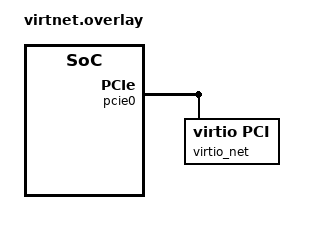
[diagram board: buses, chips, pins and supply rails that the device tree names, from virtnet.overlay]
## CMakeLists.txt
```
# SPDX-License-Identifier: Apache-2.0

cmake_minimum_required(VERSION 3.28.0)

find_package(Zephyr REQUIRED HINTS $ENV{ZEPHYR_BASE})
project(sockets_echo_server)

if(CONFIG_NET_SOCKETS_SOCKOPT_TLS AND
  CONFIG_MBEDTLS_KEY_EXCHANGE_PSK_ENABLED AND
  (CONFIG_NET_SAMPLE_PSK_HEADER_FILE STREQUAL "dummy_psk.h")
)
  add_custom_target(development_psk
    COMMAND ${CMAKE_COMMAND} -E echo "----------------------------------------------------------"
    COMMAND ${CMAKE_COMMAND} -E echo "--- WARNING: Using dummy PSK! Only suitable for        ---"
    COMMAND ${CMAKE_COMMAND} -E echo "--- development. Set NET_SAMPLE_PSK_HEADER_FILE to use ---"
    COMMAND ${CMAKE_COMMAND} -E echo "--- own pre-shared key.                                ---"
    COMMAND ${CMAKE_COMMAND} -E echo "----------------------------------------------------------"
  )
  add_dependencies(app development_psk)
endif()

target_sources(                     app PRIVATE src/echo-server.c)
target_sources_ifdef(CONFIG_NET_UDP app PRIVATE src/udp.c)
target_sources_ifdef(CONFIG_NET_TCP app PRIVATE src/tcp.c)

if(CONFIG_USB_DEVICE_STACK_NEXT)
  target_sources(app PRIVATE src/usb.c)
  include(${ZEPHYR_BASE}/samples/subsys/usb/common/common.cmake)
endif()

include(${ZEPHYR_BASE}/samples/net/common/common.cmake)

set(gen_dir ${ZEPHYR_BINARY_DIR}/include/generated/)

foreach(inc_file
  ca.der
  server.der
  server_privkey.der
  echo-apps-cert.der
  echo-apps-key.der
)
  generate_inc_file_for_target(
    app
    src/${inc_file}
    ${gen_dir}/${inc_file}.inc
  )
endforeach()

if(CONFIG_NET_SAMPLE_WEBSOCKET_CONSOLE)
  zephyr_linker_sources(SECTIONS src/ws_console/sections-rom.ld)
  target_sources(app PRIVATE src/ws_console/ws.c)
  generate_inc_file_for_target(app src/ws_console/index.html ${gen_dir}/index.html.gz.inc --gzip)
  generate_inc_file_for_target(app src/ws_console/style.css ${gen_dir}/style.css.gz.inc --gzip)
  generate_inc_file_for_target(app src/ws_console/favicon-16x16.png ${gen_dir}/favicon-16x16.png.gz.inc --gzip)
endif()
if(CONFIG_NET_SAMPLE_HTTPS_SERVICE)
  zephyr_linker_section_ifdef(CONFIG_NET_SAMPLE_WEBSOCKET_CONSOLE NAME
    http_resource_desc_wss_console_service
    KVMA RAM_REGION GROUP RODATA_REGION
  )
endif()
zephyr_linker_section_ifdef(CONFIG_NET_SAMPLE_WEBSOCKET_CONSOLE NAME
  http_resource_desc_ws_console_service
  KVMA RAM_REGION GROUP RODATA_REGION
)
```

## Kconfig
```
# Private config options for echo-server sample app

# Copyright (c) 2018 Intel Corporation
# SPDX-License-Identifier: Apache-2.0

mainmenu "Networking echo-server sample application"

config NET_SAMPLE_NUM_HANDLERS
	int "How many connections to serve at the same time"
	default 1
	help
	  Each connection is served by a thread which needs
	  memory. Only increase the value here if really needed.

config NET_SAMPLE_PSK_HEADER_FILE
	string "Header file containing PSK"
	default "dummy_psk.h"
	depends on MBEDTLS_KEY_EXCHANGE_PSK_ENABLED
	help
	  Name of a header file containing a
	  pre-shared key.

config NET_SAMPLE_CERTS_WITH_SC
	bool "Signed certificates"
	depends on NET_SOCKETS_SOCKOPT_TLS
	help
	  Enable this flag, if you are interested to run this
	  application with signed certificates and keys.

config NET_SAMPLE_WEBSOCKET_CONSOLE
	bool "Websocket console support"
	default y if WEBSOCKET_CONSOLE
	help
	  Enable this flag, if you are interested to enable websocket console.
	  You can use the ws-console.conf to set websocket options.

config NET_SAMPLE_HTTPS_SERVICE
	bool "Enable HTTPS service for the Webconsole"
	default y if NET_SAMPLE_WEBSOCKET_CONSOLE
	depends on NET_SOCKETS_SOCKOPT_TLS || TLS_CREDENTIALS

if USB_DEVICE_STACK_NEXT

# Source common USB sample options used to initialize new experimental USB
# device stack. The scope of these options is limited to USB samples in project
# tree, you cannot use them in your own application.
source "samples/subsys/usb/common/Kconfig.sample_usbd"

endif

source "samples/net/common/Kconfig"
source "Kconfig.zephyr"
```

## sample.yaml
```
common:
  harness: net
  tags:
    - net
    - socket
  depends_on: netif
  min_flash: 140
sample:
  description: Test network sockets using a client/server sample
  name: Socket Echo Server
tests:
  sample.net.sockets.echo_server:
    platform_allow:
      - qemu_x86
      - qemu_x86_64
      - sam_e70_xplained/same70q21
      - frdm_k64f
      - qemu_cortex_m3
      - frdm_kw41z
      - qemu_cortex_a53
      - native_sim
    integration_platforms:
      - qemu_x86
  sample.net.sockets.echo_server.802154:
    extra_args: EXTRA_CONF_FILE="overlay-qemu_802154.conf"
    platform_allow: qemu_x86
    integration_platforms:
      - qemu_x86
  sample.net.sockets.echo_server.802154.rf2xx.xplained:
    extra_args:
      - SHIELD=atmel_rf2xx_xplained
      - EXTRA_CONF_FILE="overlay-802154.conf"
    platform_allow: sam4s_xplained
  sample.net.sockets.echo_server.802154.rf2xx.xpro:
    extra_args:
      - SHIELD=atmel_rf2xx_xpro
      - EXTRA_CONF_FILE="overlay-802154.conf"
    platform_allow:
      - sam4e_xpro
      - sam_v71_xult/samv71q21
    integration_platforms:
      - sam_v71_xult/samv71q21
  sample.net.sockets.echo_server.802154.rf2xx.legacy:
    extra_args:
      - SHIELD=atmel_rf2xx_legacy
      - EXTRA_CONF_FILE="overlay-802154.conf"
    platform_allow:
      - sam4e_xpro
      - sam_v71_xult/samv71q21
    integration_platforms:
      - sam_v71_xult/samv71q21
  sample.net.sockets.echo_server.802154.rf2xx.arduino:
    extra_args:
      - SHIELD=atmel_rf2xx_arduino
      - EXTRA_CONF_FILE="overlay-802154.conf"
    platform_allow:
      - sam_v71_xult/samv71q21
      - frdm_k64f
      - nucleo_f767zi
    integration_platforms:
      - sam_v71_xult/samv71q21
  sample.net.sockets.echo_server.802154.rf2xx.mikrobus:
    extra_args:
      - SHIELD=atmel_rf2xx_mikrobus
      - EXTRA_CONF_FILE="overlay-802154.conf"
    platform_allow: lpcxpresso55s69/lpc55s69/cpu0/ns
  sample.net.sockets.echo_server.mcr20a:
    extra_args:
      - SHIELD=frdm_cr20a
      - EXTRA_CONF_FILE=overlay-802154.conf
    platform_allow: frdm_k64f
  sample.net.sockets.echo_server.nrf_802154:
    extra_args: EXTRA_CONF_FILE="overlay-802154.conf"
    platform_allow: nrf52840dk/nrf52840
  sample.net.sockets.echo_server.b91_802154:
    extra_args: EXTRA_CONF_FILE="overlay-802154.conf"
    platform_allow: tlsr9518adk80d
  sample.net.sockets.echo_server.usbd_cdc_ncm:
    depends_on: usbd
    harness: net
    extra_args: EXTRA_CONF_FILE="overlay-usbd.conf"
                EXTRA_DTC_OVERLAY_FILE="usbd_cdc_ncm.overlay"
    tags:
      - net
      - usb
  sample.net.sockets.echo_server.openthread:
    extra_args: EXTRA_CONF_FILE="overlay-ot.conf"
    slow: true
    tags:
      - net
      - openthread
    platform_allow:
      - frdm_kw41z
      - frdm_mcxw71
      - frdm_mcxw72
      - nrf52840dk/nrf52840
      - tlsr9518adk80d
    filter: CONFIG_FULL_LIBC_SUPPORTED and not CONFIG_NATIVE_LIBC
  sample.net.sockets.echo_server.rw612_openthread_rcp_host:
    build_only: true
    extra_args:
      # Disabling monolithic since CI environment doesn't use blobs
      - CONFIG_NXP_MONOLITHIC_NBU=n
      - EXTRA_CONF_FILE="overlay-ot-rcp-host-nxp.conf"
    slow: true
    tags:
      - net
      - openthread
    platform_allow:
      - frdm_rw612
      - rd_rw612_bga
    filter: CONFIG_FULL_LIBC_SUPPORTED and not CONFIG_NATIVE_LIBC
  sample.net.sockets.echo_server.e1000:
    extra_args: EXTRA_CONF_FILE="overlay-e1000.conf"
    tags: net
    platform_allow:
      - qemu_x86
      - qemu_x86_64
  sample.net.sockets.echo_server.stellaris:
    extra_args: EXTRA_CONF_FILE="overlay-qemu_cortex_m3_eth.conf"
    tags: net
    platform_allow: qemu_cortex_m3
  sample.net.sockets.echo_server.smsc911x:
    extra_args: EXTRA_CONF_FILE="overlay-smsc911x.conf"
    tags: net
    platform_allow: mps2/an385
  sample.net.sockets.echo_server.userspace:
    extra_args:
      - CONFIG_USERSPACE=y
      - EXTRA_CONF_FILE="overlay-e1000.conf"
      - CONFIG_MAX_THREAD_BYTES=3
    platform_allow:
      - qemu_x86
      - qemu_x86_64
    integration_platforms:
      - qemu_x86
  sample.net.sockets.echo_server.nsos:
    harness: console
    platform_allow:
      - native_sim
      - native_sim/native/64
    extra_args:
      - EXTRA_CONF_FILE="overlay-nsos.conf"
    harness_config:
      type: multi_line
      ordered: false
      regex:
        - "Network connected"
        - "Waiting for TCP.*IPv4"
        - "Waiting for TCP.*IPv6"
        - "Waiting for UDP.*IPv4"
        - "Waiting for UDP.*IPv6"
  sample.net.sockets.echo_server.802154.subg:
    extra_args: EXTRA_CONF_FILE="overlay-802154-subg.conf"
    platform_allow: beagleconnect_freedom
  sample.net.sockets.echo_server.ws_console:
    platform_allow:
      - native_sim
      - native_sim/native/64
    extra_args:
      - EXTRA_CONF_FILE="overlay-ws-console.conf"
  sample.net.sockets.echo_server.wifi.nrf70dk:
    extra_args:
      - SNIPPET=wifi-ipv4
      - CONFIG_BUILD_ONLY_NO_BLOBS=y
    platform_allow:
      - nrf7002dk/nrf5340/cpuapp
```

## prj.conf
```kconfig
# Generic networking options
CONFIG_NETWORKING=y
CONFIG_NET_UDP=y
CONFIG_NET_TCP=y
CONFIG_NET_IPV6=y
CONFIG_NET_IPV4=y
CONFIG_NET_SOCKETS=y
CONFIG_POSIX_API=y
CONFIG_NET_CONNECTION_MANAGER=y

# Kernel options
CONFIG_MAIN_STACK_SIZE=2048
CONFIG_ENTROPY_GENERATOR=y
CONFIG_TEST_RANDOM_GENERATOR=y
CONFIG_INIT_STACKS=y

# Logging
CONFIG_NET_LOG=y
CONFIG_LOG=y
CONFIG_NET_STATISTICS=y
CONFIG_PRINTK=y

# Network buffers
CONFIG_NET_PKT_RX_COUNT=16
CONFIG_NET_PKT_TX_COUNT=16
CONFIG_NET_BUF_RX_COUNT=64
CONFIG_NET_BUF_TX_COUNT=64
CONFIG_NET_CONTEXT_NET_PKT_POOL=y

# IP address options
CONFIG_NET_IF_UNICAST_IPV6_ADDR_COUNT=3
CONFIG_NET_IF_MCAST_IPV6_ADDR_COUNT=4
CONFIG_NET_MAX_CONTEXTS=10

# Network shell
CONFIG_NET_SHELL=y
CONFIG_SHELL=y

# Network application options and configuration
CONFIG_NET_CONFIG_SETTINGS=y
CONFIG_NET_CONFIG_NEED_IPV6=y
CONFIG_NET_CONFIG_MY_IPV6_ADDR="2001:db8::1"
CONFIG_NET_CONFIG_PEER_IPV6_ADDR="2001:db8::2"
CONFIG_NET_CONFIG_NEED_IPV4=y
CONFIG_NET_CONFIG_MY_IPV4_ADDR="192.0.2.1"
CONFIG_NET_CONFIG_PEER_IPV4_ADDR="192.0.2.2"

# Number of socket descriptors might need adjusting
# if there are more than 1 handlers defined.
CONFIG_ZVFS_OPEN_ADD_SIZE_NET_SAMPLE=8

# How many client can connect to echo-server simultaneously
CONFIG_NET_SAMPLE_NUM_HANDLERS=1
```

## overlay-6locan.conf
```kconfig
CONFIG_CAN=y
CONFIG_CAN_NET=y
CONFIG_CAN_MAX_FILTER=8
CONFIG_NET_L2_CANBUS=y
CONFIG_NET_L2_CANBUS_BS=8
CONFIG_NET_L2_CANBUS_STMIN=0
CONFIG_NET_IPV4=n
CONFIG_NET_IPV6=y
CONFIG_NET_CONFIG_NEED_IPV6=y
CONFIG_NET_CONFIG_NEED_IPV4=n
CONFIG_NET_CONFIG_MY_IPV4_ADDR=""
CONFIG_NET_CONFIG_PEER_IPV4_ADDR=""
```

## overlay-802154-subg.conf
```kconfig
CONFIG_BT=n

# Disable IPv4
CONFIG_NET_IPV4=n

CONFIG_NET_CONFIG_NEED_IPV6=y
CONFIG_NET_CONFIG_NEED_IPV4=n
CONFIG_NET_CONFIG_MY_IPV4_ADDR=""
CONFIG_NET_CONFIG_PEER_IPV4_ADDR=""

CONFIG_NET_L2_IEEE802154=y
CONFIG_SHELL=y
CONFIG_NET_L2_IEEE802154_SHELL=y
CONFIG_NET_L2_IEEE802154_LOG_LEVEL_INF=y

# Uncomment for 868 MHz
#CONFIG_NET_CONFIG_IEEE802154_CHANNEL=0
# Uncomment for 906 MHz:
CONFIG_NET_CONFIG_IEEE802154_CHANNEL=1
```

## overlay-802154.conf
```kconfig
CONFIG_BT=n

# Disable TCP and IPv4 (TCP disabled to avoid heavy traffic)
CONFIG_NET_TCP=n
CONFIG_NET_IPV4=n

CONFIG_NET_CONFIG_NEED_IPV6=y
CONFIG_NET_CONFIG_NEED_IPV4=n
CONFIG_NET_CONFIG_MY_IPV4_ADDR=""
CONFIG_NET_CONFIG_PEER_IPV4_ADDR=""

CONFIG_NET_L2_IEEE802154=y
CONFIG_NET_L2_IEEE802154_SHELL=y
CONFIG_NET_L2_IEEE802154_LOG_LEVEL_INF=y

CONFIG_NET_CONFIG_IEEE802154_CHANNEL=26

CONFIG_SYSTEM_WORKQUEUE_STACK_MIN_SIZE_APP=2048
```

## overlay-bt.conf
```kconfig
CONFIG_BT=y
CONFIG_LOG=y
CONFIG_BT_SMP=y
CONFIG_BT_PERIPHERAL=y
CONFIG_BT_CENTRAL=y
CONFIG_BT_L2CAP_DYNAMIC_CHANNEL=y
CONFIG_BT_DEVICE_NAME="Zephyr Echo Server"
CONFIG_NET_L2_BT=y
CONFIG_NET_IPV4=n
CONFIG_NET_IPV6=y
CONFIG_NET_CONFIG_BT_NODE=y
CONFIG_NET_CONFIG_NEED_IPV6=y
CONFIG_NET_CONFIG_NEED_IPV4=n
CONFIG_NET_CONFIG_MY_IPV4_ADDR=""
CONFIG_NET_CONFIG_PEER_IPV4_ADDR=""
```

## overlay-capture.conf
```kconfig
CONFIG_NET_CAPTURE=y

# These might need adjustment if you have more than
# two network interfaces.
CONFIG_NET_IF_MAX_IPV6_COUNT=3
CONFIG_NET_IF_MAX_IPV4_COUNT=3
CONFIG_NET_IF_UNICAST_IPV4_ADDR_COUNT=2
CONFIG_NET_IF_UNICAST_IPV6_ADDR_COUNT=4
```

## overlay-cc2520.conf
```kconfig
CONFIG_NET_L2_IEEE802154=y

CONFIG_NET_CONFIG_MY_IPV6_ADDR="2001:db8::2"
```

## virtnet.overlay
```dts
/*
 * Copyright (c) 2025 Antmicro <www.antmicro.com>
 *
 * SPDX-License-Identifier: Apache-2.0
 */

&pcie0 {
	eth0: eth0 {
		status = "disabled";
	};

	virtio_net: virtio-net {
		compatible = "virtio,pci";

		vendor-id = <0x1af4>;
		device-id = <0x1000>;

		interrupts = <0xb 0x0 0x0>;
		interrupt-parent = <&intc>;

		device {
			compatible = "virtio,net";
			zephyr,random-mac-address;
			status = "okay";
		};
	};
};
```

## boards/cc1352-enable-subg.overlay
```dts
/*
 * Copyright (c) 2022 Florin Stancu
 *
 * SPDX-License-Identifier: Apache-2.0
 */

/**
 * Overlay to enable for CC1352R1 / CC1352P1-based boards.
 */

/ {
	chosen {
		zephyr,ieee802154 = &ieee802154g;
	};
};

&ieee802154 {
	status = "disabled";
};

&ieee802154g {
	status = "okay";
};
```

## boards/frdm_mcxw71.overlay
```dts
/*
 * Copyright 2023-2025 NXP
 *
 * SPDX-License-Identifier: Apache-2.0
 */

&stcm {
	ranges = <0x0 0x30000000 DT_SIZE_K(112)>;

	stcm1: system_memory@1a000 {
		compatible = "zephyr,memory-region", "mmio-sram";
		reg = <0x1a000 DT_SIZE_K(4)>;
		zephyr,memory-region = "RetainedMem";
	};
};

&stcm0 {
	/* With only the first 64KB having ECC */
	reg = <0x0 DT_SIZE_K(108)>;
};
```

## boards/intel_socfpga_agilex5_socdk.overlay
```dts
/*
 * Copyright (C) 2024 Intel Corporation
 * SPDX-License-Identifier: Apache-2.0
 */

/* The overlay file should be used to enable any
 * dts nodes required by this application for this
 * board.
 */

&xgmac0 {
	local-mac-address = [06 00 00 00 00 02];
	status = "okay";
};

&mdio0 {
	status = "okay";

	phy0: phy@0 {
		status = "okay";
	};
};
```

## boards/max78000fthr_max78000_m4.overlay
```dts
/*
 * Copyright (c) 2026 Analog Devices, Inc.
 *
 * SPDX-License-Identifier: Apache-2.0
 */

&m4_sram {
	reg = <0x20000000 DT_SIZE_K(128)>;
};

&spi0_mosi_p0_5 {
	power-source = <MAX32_VSEL_VDDIOH>;
};

&spi0_miso_p0_6 {
	power-source = <MAX32_VSEL_VDDIOH>;
};

&spi0_sck_p0_7 {
	power-source = <MAX32_VSEL_VDDIOH>;
};

&spi0_ss0_p0_4 {
	power-source = <MAX32_VSEL_VDDIOH>;
};

/* I2C uses P0.10/P0.11, which conflict with QSPI_SS1 */
&i2c0 {
	status = "disabled";
};

&spi0 {
	cs-gpios = <&gpio0 11 (GPIO_ACTIVE_LOW | MAX32_GPIO_VSEL_VDDIOH)>;
	status = "okay";

	adin1140@0 {
		compatible = "adi,adin1140";
		reg = <0x0>;
		spi-max-frequency = <DT_FREQ_M(25)>;
		int-gpios = <&gpio1 6 (GPIO_ACTIVE_LOW | MAX32_GPIO_VSEL_VDDIOH | GPIO_PULL_UP)>;
		wake-gpios = <&gpio0 24 (GPIO_ACTIVE_HIGH | MAX32_GPIO_VSEL_VDDIOH)>;
		local-mac-address = [00 e0 22 fe da d0];
		phy-handle = <&adin1140_phy>;
		status = "okay";

		mdio {
			compatible = "adi,adin1140-mdio";
			#address-cells = <1>;
			#size-cells = <0>;

			adin1140_phy: ethernet-phy@0 {
				compatible = "adi,adin1140-phy";
				reg = <0x0>;
				plca-enable;
				plca-node-id = <0>;
				plca-node-count = <5>;
				plca-burst-count = <0>;
				plca-burst-timer = <0x60>;
				plca-to-timer = <0x20>;
			};
		};
	};
};
```

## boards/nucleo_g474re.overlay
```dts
/*
 * Copyright 2025 Łukasz Majewski
 *
 * SPDX-License-Identifier: Apache-2.0
 */

&spi1 {
	status = "okay";
	pinctrl-0 = <&spi1_sck_pa5 &spi1_miso_pa6 &spi1_mosi_pa7>;
	pinctrl-names = "default";
	cs-gpios = <&gpiob 6 GPIO_ACTIVE_LOW>;

	spe: lan865x@0 {
		compatible = "microchip,lan865x";
		reg = <0>;

		/* pa9 -> D8 label on nucleo */
		rst-gpios = <&gpioa 9 GPIO_ACTIVE_LOW>;
		/* pa8 -> D7 label on nucleo */
		int-gpios = <&gpioa 8 GPIO_ACTIVE_LOW>;

		local-mac-address = [00 19 05 00 00 01];

		phy-handle = <&lan865x_phy>;

		spi-max-frequency = <25000000>;

		#address-cells = <1>;
		#size-cells = <0>;

		lan865x_phy: ethernet-phy@0 {
			compatible = "microchip,t1s-phy";
			reg = <0x0>;
			plca-enable;
			plca-node-id = <1>;
			plca-node-count = <8>;
			plca-burst-count = <0>;
			plca-burst-timer = <0x80>;
			plca-to-timer = <0x20>;
			status = "okay";
		};

		status = "okay";
	};
};
```

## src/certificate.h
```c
/*
 * Copyright (c) 2018 Nordic Semiconductor ASA
 *
 * SPDX-License-Identifier: Apache-2.0
 */

#ifndef __CERTIFICATE_H__
#define __CERTIFICATE_H__

#define SERVER_CERTIFICATE_TAG 1
#define PSK_TAG 2

#if !defined(CONFIG_NET_SAMPLE_CERTS_WITH_SC)
static const unsigned char server_certificate[] = {
#include <echo-apps-cert.der.inc>
};

/* This is the private key in pkcs#8 format. */
static const unsigned char private_key[] = {
#include <echo-apps-key.der.inc>
};

#else

static const unsigned char ca_certificate[] = {
#include <ca.der.inc>
};

static const unsigned char server_certificate[] = {
#include <server.der.inc>
};

/* This is the private key in pkcs#8 format. */
static const unsigned char private_key[] = {
#include <server_privkey.der.inc>
};
#endif

#if defined(CONFIG_MBEDTLS_KEY_EXCHANGE_PSK_ENABLED)
#include CONFIG_NET_SAMPLE_PSK_HEADER_FILE
#endif

#endif /* __CERTIFICATE_H__ */
```

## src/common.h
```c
/*
 * Copyright (c) 2017-2019 Intel Corporation.
 * Copyright (c) 2018 Nordic Semiconductor ASA.
 *
 * SPDX-License-Identifier: Apache-2.0
 */

#include "net_sample_common.h"

#define MY_PORT 4242
#if defined(CONFIG_NET_SOCKETS_SOCKOPT_TLS) || defined(CONFIG_NET_TCP) || \
	defined(CONFIG_COVERAGE_GCOV)
#define STACK_SIZE 4096
#else
#define STACK_SIZE 2048
#endif

#if defined(CONFIG_NET_TC_THREAD_COOPERATIVE)
#define THREAD_PRIORITY K_PRIO_COOP(CONFIG_NUM_COOP_PRIORITIES - 1)
#else
#define THREAD_PRIORITY K_PRIO_PREEMPT(8)
#endif

#define RECV_BUFFER_SIZE 1280
#define STATS_TIMER 60 /* How often to print statistics (in seconds) */

#if defined(CONFIG_USERSPACE)
#include <zephyr/app_memory/app_memdomain.h>
extern struct k_mem_partition app_partition;
extern struct k_mem_domain app_domain;
#define APP_BMEM K_APP_BMEM(app_partition)
#define APP_DMEM K_APP_DMEM(app_partition)
#else
#define APP_BMEM
#define APP_DMEM
#endif

struct data {
	const char *proto;

	struct {
		int sock;
		char recv_buffer[RECV_BUFFER_SIZE];
		uint32_t counter;
		atomic_t bytes_received;
		struct k_work_delayable stats_print;
	} udp;

	struct {
		int sock;
		atomic_t bytes_received;
		struct k_work_delayable stats_print;

		struct {
			int sock;
			char recv_buffer[RECV_BUFFER_SIZE];
			uint32_t counter;
		} accepted[CONFIG_NET_SAMPLE_NUM_HANDLERS];
	} tcp;
};

struct configs {
	struct data ipv4;
	struct data ipv6;
};

extern struct configs conf;

void start_udp(void);
void stop_udp(void);

void start_tcp(void);
void stop_tcp(void);

void quit(void);

#if defined(CONFIG_NET_SAMPLE_WEBSOCKET_CONSOLE)
int init_ws(void);
#else
static inline int init_ws(void)
{
	return 0;
}
#endif /* CONFIG_NET_SAMPLE_WEBSOCKET_CONSOLE */

#if defined(CONFIG_USB_DEVICE_STACK_NEXT)
int init_usb(void);
#else
static inline int init_usb(void)
{
	return 0;
}
#endif /* CONFIG_USB_DEVICE_STACK_NEXT */
```

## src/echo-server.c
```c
/* echo-server.c - Networking echo server */

/*
 * Copyright (c) 2016 Intel Corporation.
 * Copyright (c) 2018 Nordic Semiconductor ASA.
 *
 * SPDX-License-Identifier: Apache-2.0
 */

#include <zephyr/logging/log.h>
LOG_MODULE_REGISTER(net_echo_server_sample, LOG_LEVEL_DBG);

#include <zephyr/kernel.h>
#include <zephyr/linker/sections.h>
#include <errno.h>
#include <zephyr/shell/shell.h>

#include <zephyr/net/net_core.h>
#include <zephyr/net/tls_credentials.h>

#include <zephyr/net/net_mgmt.h>
#include <zephyr/net/net_event.h>
#include <zephyr/net/conn_mgr_monitor.h>

#include "common.h"
#include "certificate.h"

#define APP_BANNER "Run echo server"

static struct k_sem quit_lock;
static struct net_mgmt_event_callback mgmt_cb;
static bool connected;
K_SEM_DEFINE(run_app, 0, 1);
static bool want_to_quit;

#if defined(CONFIG_USERSPACE)
K_APPMEM_PARTITION_DEFINE(app_partition);
struct k_mem_domain app_domain;
#endif

#define EVENT_MASK (NET_EVENT_L4_CONNECTED | \
		    NET_EVENT_L4_DISCONNECTED)

APP_DMEM struct configs conf = {
	.ipv4 = {
		.proto = "IPv4",
	},
	.ipv6 = {
		.proto = "IPv6",
	},
};

void quit(void)
{
	k_sem_give(&quit_lock);
}

static void start_udp_and_tcp(void)
{
	LOG_INF("Starting...");

	if (IS_ENABLED(CONFIG_NET_TCP)) {
		start_tcp();
	}

	if (IS_ENABLED(CONFIG_NET_UDP)) {
		start_udp();
	}
}

static void stop_udp_and_tcp(void)
{
	LOG_INF("Stopping...");

	if (IS_ENABLED(CONFIG_NET_UDP)) {
		stop_udp();
	}

	if (IS_ENABLED(CONFIG_NET_TCP)) {
		stop_tcp();
	}
}

static void event_handler(struct net_mgmt_event_callback *cb,
			  uint64_t mgmt_event, struct net_if *iface)
{
	ARG_UNUSED(iface);
	ARG_UNUSED(cb);

	if ((mgmt_event & EVENT_MASK) != mgmt_event) {
		return;
	}

	if (want_to_quit) {
		k_sem_give(&run_app);
		want_to_quit = false;
	}

	if (mgmt_event == NET_EVENT_L4_CONNECTED) {
		LOG_INF("Network connected");

		connected = true;
		k_sem_give(&run_app);

		return;
	}

	if (mgmt_event == NET_EVENT_L4_DISCONNECTED) {
		if (connected == false) {
			LOG_INF("Waiting network to be connected");
		} else {
			LOG_INF("Network disconnected");
			connected = false;
		}

		k_sem_reset(&run_app);

		return;
	}
}

static void init_app(void)
{
#if defined(CONFIG_USERSPACE)
	struct k_mem_partition *parts[] = {
#if Z_LIBC_PARTITION_EXISTS
		&z_libc_partition,
#endif
		&app_partition
	};

	int ret = k_mem_domain_init(&app_domain, ARRAY_SIZE(parts), parts);

	__ASSERT(ret == 0, "k_mem_domain_init() failed %d", ret);
	ARG_UNUSED(ret);
#endif

	k_sem_init(&quit_lock, 0, K_SEM_MAX_LIMIT);

	LOG_INF(APP_BANNER);

#if defined(CONFIG_NET_SOCKETS_SOCKOPT_TLS)
	int err;

#if defined(CONFIG_NET_SAMPLE_CERTS_WITH_SC)
	err = tls_credential_add(SERVER_CERTIFICATE_TAG,
				 TLS_CREDENTIAL_CA_CERTIFICATE,
				 ca_certificate,
				 sizeof(ca_certificate));
	if (err < 0) {
		LOG_ERROR("Failed to register CA certificate: %d", err);
	}
#endif /* defined(CONFIG_NET_SAMPLE_CERTS_WITH_SC) */

	err = tls_credential_add(SERVER_CERTIFICATE_TAG,
				 TLS_CREDENTIAL_PUBLIC_CERTIFICATE,
				 server_certificate,
				 sizeof(server_certificate));
	if (err < 0) {
		LOG_ERROR("Failed to register public certificate: %d", err);
	}


	err = tls_credential_add(SERVER_CERTIFICATE_TAG,
				 TLS_CREDENTIAL_PRIVATE_KEY,
				 private_key, sizeof(private_key));
	if (err < 0) {
		LOG_ERROR("Failed to register private key: %d", err);
	}

#if defined(CONFIG_MBEDTLS_KEY_EXCHANGE_PSK_ENABLED)
	err = tls_credential_add(PSK_TAG,
				TLS_CREDENTIAL_PSK,
				psk,
				sizeof(psk));
	if (err < 0) {
		LOG_ERROR("Failed to register PSK: %d", err);
	}
	err = tls_credential_add(PSK_TAG,
				TLS_CREDENTIAL_PSK_ID,
				psk_id,
				sizeof(psk_id) - 1);
	if (err < 0) {
		LOG_ERROR("Failed to register PSK ID: %d", err);
	}
#endif /* defined(CONFIG_MBEDTLS_KEY_EXCHANGE_PSK_ENABLED) */
#endif /* defined(CONFIG_NET_SOCKETS_SOCKOPT_TLS) */

	if (IS_ENABLED(CONFIG_NET_CONNECTION_MANAGER)) {
		net_mgmt_init_event_callback(&mgmt_cb,
					     event_handler, EVENT_MASK);
		net_mgmt_add_event_callback(&mgmt_cb);

		conn_mgr_mon_resend_status();
	}

	init_vlan();
	init_tunnel();
	init_ws();
	init_usb();
}

static int cmd_sample_quit(const struct shell *sh,
			  size_t argc, char *argv[])
{
	want_to_quit = true;

	conn_mgr_mon_resend_status();

	quit();

	return 0;
}

SHELL_STATIC_SUBCMD_SET_CREATE(sample_commands,
	SHELL_CMD(quit, NULL,
		  "Quit the sample application\n",
		  cmd_sample_quit),
	SHELL_SUBCMD_SET_END
);

SHELL_CMD_REGISTER(sample, &sample_commands,
		   "Sample application commands", NULL);

int main(void)
{
	init_app();

	if (!IS_ENABLED(CONFIG_NET_CONNECTION_MANAGER)) {
		/* If the config library has not been configured to start the
		 * app only after we have a connection, then we can start
		 * it right away.
		 */
		k_sem_give(&run_app);
	}

	/* Wait for the connection. */
	k_sem_take(&run_app, K_FOREVER);

	start_udp_and_tcp();

	k_sem_take(&quit_lock, K_FOREVER);

	if (connected) {
		stop_udp_and_tcp();
	}
	return 0;
}
```

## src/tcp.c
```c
/* tcp.c - TCP specific code for echo server */

/*
 * Copyright (c) 2017 Intel Corporation.
 * Copyright (c) 2018 Nordic Semiconductor ASA.
 *
 * SPDX-License-Identifier: Apache-2.0
 */

#include <zephyr/logging/log.h>
LOG_MODULE_DECLARE(net_echo_server_sample, LOG_LEVEL_DBG);

#include <zephyr/kernel.h>
#include <errno.h>
#include <stdio.h>

#include <zephyr/posix/sys/socket.h>
#include <zephyr/posix/unistd.h>

#include <zephyr/net/socket.h>
#include <zephyr/net/tls_credentials.h>

#include "common.h"
#include "certificate.h"

#define MAX_CLIENT_QUEUE CONFIG_NET_SAMPLE_NUM_HANDLERS

#if defined(CONFIG_NET_IPV4)
K_THREAD_STACK_ARRAY_DEFINE(tcp4_handler_stack, CONFIG_NET_SAMPLE_NUM_HANDLERS,
			    STACK_SIZE);
static struct k_thread tcp4_handler_thread[CONFIG_NET_SAMPLE_NUM_HANDLERS];
static APP_BMEM bool tcp4_handler_in_use[CONFIG_NET_SAMPLE_NUM_HANDLERS];
#endif

#if defined(CONFIG_NET_IPV6)
K_THREAD_STACK_ARRAY_DEFINE(tcp6_handler_stack, CONFIG_NET_SAMPLE_NUM_HANDLERS,
			    STACK_SIZE);
static struct k_thread tcp6_handler_thread[CONFIG_NET_SAMPLE_NUM_HANDLERS];
static APP_BMEM bool tcp6_handler_in_use[CONFIG_NET_SAMPLE_NUM_HANDLERS];
#endif

static void process_tcp4(void);
static void process_tcp6(void);

K_THREAD_DEFINE(tcp4_thread_id, STACK_SIZE,
		process_tcp4, NULL, NULL, NULL,
		THREAD_PRIORITY,
		IS_ENABLED(CONFIG_USERSPACE) ? K_USER : 0, -1);

K_THREAD_DEFINE(tcp6_thread_id, STACK_SIZE,
		process_tcp6, NULL, NULL, NULL,
		THREAD_PRIORITY,
		IS_ENABLED(CONFIG_USERSPACE) ? K_USER : 0, -1);

static ssize_t sendall(int sock, const void *buf, size_t len)
{
	while (len) {
		ssize_t out_len = send(sock, buf, len, 0);

		if (out_len < 0) {
			return out_len;
		}
		buf = (const char *)buf + out_len;
		len -= out_len;
	}

	return 0;
}

static int start_tcp_proto(struct data *data,
			   struct sockaddr *bind_addr,
			   socklen_t bind_addrlen)
{
	int optval;
	int ret;

#if defined(CONFIG_NET_SOCKETS_SOCKOPT_TLS)
	data->tcp.sock = socket(bind_addr->sa_family, SOCK_STREAM,
				IPPROTO_TLS_1_2);
#else
	data->tcp.sock = socket(bind_addr->sa_family, SOCK_STREAM,
				IPPROTO_TCP);
#endif
	if (data->tcp.sock < 0) {
		LOG_ERR("Failed to create TCP socket (%s): %d", data->proto,
			errno);
		return -errno;
	}

#if defined(CONFIG_NET_SOCKETS_SOCKOPT_TLS)
	sec_tag_t sec_tag_list[] = {
		SERVER_CERTIFICATE_TAG,
#if defined(CONFIG_MBEDTLS_KEY_EXCHANGE_PSK_ENABLED)
		PSK_TAG,
#endif
	};

	ret = setsockopt(data->tcp.sock, SOL_TLS, TLS_SEC_TAG_LIST,
			 sec_tag_list, sizeof(sec_tag_list));
	if (ret < 0) {
		LOG_ERR("Failed to set TCP secure option (%s): %d", data->proto,
			errno);
		ret = -errno;
	}
#endif

	if (bind_addr->sa_family == AF_INET6) {
		/* Prefer IPv6 temporary addresses */
		optval = IPV6_PREFER_SRC_PUBLIC;
		(void)setsockopt(data->tcp.sock, IPPROTO_IPV6,
				 IPV6_ADDR_PREFERENCES,
				 &optval, sizeof(optval));

		/*
		 * Bind only to IPv6 without mapping to IPv4, since we bind to
		 * IPv4 using another socket
		 */
		optval = 1;
		(void)setsockopt(data->tcp.sock, IPPROTO_IPV6, IPV6_V6ONLY,
				 &optval, sizeof(optval));
	}

	ret = bind(data->tcp.sock, bind_addr, bind_addrlen);
	if (ret < 0) {
		LOG_ERR("Failed to bind TCP socket (%s): %d", data->proto,
			errno);
		return -errno;
	}

	ret = listen(data->tcp.sock, MAX_CLIENT_QUEUE);
	if (ret < 0) {
		LOG_ERR("Failed to listen on TCP socket (%s): %d",
			data->proto, errno);
		ret = -errno;
	}

	return ret;
}

static void handle_data(void *ptr1, void *ptr2, void *ptr3)
{
	int slot = POINTER_TO_INT(ptr1);
	struct data *data = ptr2;
	bool *in_use = ptr3;
	int offset = 0;
	int received;
	int client;
	int ret;

	client = data->tcp.accepted[slot].sock;

	do {
		received = recv(client,
			data->tcp.accepted[slot].recv_buffer + offset,
			sizeof(data->tcp.accepted[slot].recv_buffer) - offset,
			0);

		if (received == 0) {
			/* Connection closed */
			LOG_INF("TCP (%s): Connection closed", data->proto);
			break;
		} else if (received < 0) {
			/* Socket error */
			LOG_ERR("TCP (%s): Connection error %d", data->proto,
				errno);
			break;
		} else {
			atomic_add(&data->tcp.bytes_received, received);
		}

		offset += received;

#if !defined(CONFIG_NET_SOCKETS_SOCKOPT_TLS)
		/* To prevent fragmentation of the response, reply only if
		 * buffer is full or there is no more data to read
		 */
		if (offset == sizeof(data->tcp.accepted[slot].recv_buffer) ||
		    (recv(client,
			  data->tcp.accepted[slot].recv_buffer + offset,
			  sizeof(data->tcp.accepted[slot].recv_buffer) -
								offset,
			  MSG_PEEK | MSG_DONTWAIT) < 0 &&
		     (errno == EAGAIN || errno == EWOULDBLOCK))) {
#endif
			ret = sendall(client,
				      data->tcp.accepted[slot].recv_buffer,
				      offset);
			if (ret < 0) {
				LOG_ERR("TCP (%s): Failed to send, "
					"closing socket", data->proto);
				break;
			}

			LOG_DBG("TCP (%s): Received and replied with %d bytes",
				data->proto, offset);

			if (++data->tcp.accepted[slot].counter % 1000 == 0U) {
				LOG_INF("%s TCP: Sent %u packets", data->proto,
					data->tcp.accepted[slot].counter);
			}

			offset = 0;
#if !defined(CONFIG_NET_SOCKETS_SOCKOPT_TLS)
		}
#endif
	} while (true);

	*in_use = false;

	(void)close(client);

	data->tcp.accepted[slot].sock = -1;
}

static int get_free_slot(struct data *data)
{
	int i;

	for (i = 0; i < CONFIG_NET_SAMPLE_NUM_HANDLERS; i++) {
		if (data->tcp.accepted[i].sock < 0) {
			return i;
		}
	}

	return -1;
}

static int process_tcp(struct data *data)
{
	int client;
	int slot;
	struct sockaddr_in client_addr;
	socklen_t client_addr_len = sizeof(client_addr);

	LOG_INF("Waiting for TCP connection on port %d (%s)...",
		MY_PORT, data->proto);

	client = accept(data->tcp.sock, (struct sockaddr *)&client_addr,
			&client_addr_len);
	if (client < 0) {
		LOG_ERR("%s accept error (%d)", data->proto, -errno);
		return -errno;
	}

	slot = get_free_slot(data);
	if (slot < 0) {
		LOG_ERR("Cannot accept more connections");
		close(client);
		return 0;
	}

	data->tcp.accepted[slot].sock = client;

	LOG_INF("TCP (%s): Accepted connection", data->proto);

#define MAX_NAME_LEN sizeof("tcp6[xxx]")

#if defined(CONFIG_NET_IPV6)
	if (client_addr.sin_family == AF_INET6) {
		tcp6_handler_in_use[slot] = true;

		k_thread_create(
			&tcp6_handler_thread[slot],
			tcp6_handler_stack[slot],
			K_THREAD_STACK_SIZEOF(tcp6_handler_stack[slot]),
			handle_data,
			INT_TO_POINTER(slot), data, &tcp6_handler_in_use[slot],
			THREAD_PRIORITY,
			IS_ENABLED(CONFIG_USERSPACE) ? K_USER |
						       K_INHERIT_PERMS : 0,
			K_NO_WAIT);

		if (IS_ENABLED(CONFIG_THREAD_NAME)) {
			char name[MAX_NAME_LEN];

			snprintk(name, sizeof(name), "tcp6[%3d]", (uint8_t)slot);
			k_thread_name_set(&tcp6_handler_thread[slot], name);
		}
	}
#endif

#if defined(CONFIG_NET_IPV4)
	if (client_addr.sin_family == AF_INET) {
		tcp4_handler_in_use[slot] = true;

		k_thread_create(
			&tcp4_handler_thread[slot],
			tcp4_handler_stack[slot],
			K_THREAD_STACK_SIZEOF(tcp4_handler_stack[slot]),
			handle_data,
			INT_TO_POINTER(slot), data, &tcp4_handler_in_use[slot],
			THREAD_PRIORITY,
			IS_ENABLED(CONFIG_USERSPACE) ? K_USER |
						       K_INHERIT_PERMS : 0,
			K_NO_WAIT);

		if (IS_ENABLED(CONFIG_THREAD_NAME)) {
			char name[MAX_NAME_LEN];

			snprintk(name, sizeof(name), "tcp4[%3d]", (uint8_t)slot);
			k_thread_name_set(&tcp4_handler_thread[slot], name);
		}
	}
#endif

	return 0;
}

static void process_tcp4(void)
{
	int ret;
	struct sockaddr_in addr4;

	(void)memset(&addr4, 0, sizeof(addr4));
	addr4.sin_family = AF_INET;
	addr4.sin_port = htons(MY_PORT);

	ret = start_tcp_proto(&conf.ipv4, (struct sockaddr *)&addr4,
			      sizeof(addr4));
	if (ret < 0) {
		quit();
		return;
	}

	while (ret == 0) {
		ret = process_tcp(&conf.ipv4);
		if (ret < 0) {
			break;
		}
	}

	quit();
}

static void process_tcp6(void)
{
	int ret;
	struct sockaddr_in6 addr6;

	(void)memset(&addr6, 0, sizeof(addr6));
	addr6.sin6_family = AF_INET6;
	addr6.sin6_port = htons(MY_PORT);

	ret = start_tcp_proto(&conf.ipv6, (struct sockaddr *)&addr6,
			      sizeof(addr6));
	if (ret < 0) {
		quit();
		return;
	}

	while (ret == 0) {
		ret = process_tcp(&conf.ipv6);
		if (ret != 0) {
			break;
		}
	}

	quit();
}

static void print_stats(struct k_work *work)
{
	struct k_work_delayable *dwork = k_work_delayable_from_work(work);
	struct data *data = CONTAINER_OF(dwork, struct data, tcp.stats_print);
	int total_received = atomic_get(&data->tcp.bytes_received);

	if (total_received) {
		if ((total_received / STATS_TIMER) < 1024) {
			LOG_INF("%s TCP: Received %d B/sec", data->proto,
				total_received / STATS_TIMER);
		} else {
			LOG_INF("%s TCP: Received %d KiB/sec", data->proto,
				total_received / 1024 / STATS_TIMER);
		}

		atomic_set(&data->tcp.bytes_received, 0);
	}

	k_work_reschedule(&data->tcp.stats_print, K_SECONDS(STATS_TIMER));
}

void start_tcp(void)
{
	int i;

	for (i = 0; i < CONFIG_NET_SAMPLE_NUM_HANDLERS; i++) {
		conf.ipv6.tcp.accepted[i].sock = -1;
		conf.ipv4.tcp.accepted[i].sock = -1;

#if defined(CONFIG_NET_IPV4)
		tcp4_handler_in_use[i] = false;
#endif
#if defined(CONFIG_NET_IPV6)
		tcp6_handler_in_use[i] = false;
#endif
	}

#if defined(CONFIG_NET_IPV6)
#if defined(CONFIG_USERSPACE)
	k_mem_domain_add_thread(&app_domain, tcp6_thread_id);

	for (i = 0; i < CONFIG_NET_SAMPLE_NUM_HANDLERS; i++) {
		k_thread_access_grant(tcp6_thread_id, &tcp6_handler_thread[i]);
		k_thread_access_grant(tcp6_thread_id, &tcp6_handler_stack[i]);
	}
#endif

	k_work_init_delayable(&conf.ipv6.tcp.stats_print, print_stats);
	k_thread_start(tcp6_thread_id);
	k_work_reschedule(&conf.ipv6.tcp.stats_print, K_SECONDS(STATS_TIMER));
#endif

#if defined(CONFIG_NET_IPV4)
#if defined(CONFIG_USERSPACE)
	k_mem_domain_add_thread(&app_domain, tcp4_thread_id);

	for (i = 0; i < CONFIG_NET_SAMPLE_NUM_HANDLERS; i++) {
		k_thread_access_grant(tcp4_thread_id, &tcp4_handler_thread[i]);
		k_thread_access_grant(tcp4_thread_id, &tcp4_handler_stack[i]);
	}
#endif

	k_work_init_delayable(&conf.ipv4.tcp.stats_print, print_stats);
	k_thread_start(tcp4_thread_id);
	k_work_reschedule(&conf.ipv4.tcp.stats_print, K_SECONDS(STATS_TIMER));
#endif
}

static void stop_thread(struct k_thread *thread)
{
	if (k_thread_join(thread, K_SECONDS(1)) != 0) {
		/* Not very graceful way to close a thread, but as we may be blocked
		 * in accept or recv call it seems to be necessary
		 */
		k_thread_abort(thread);
	}
}

void stop_tcp(void)
{
	int i;

	/* Stop both listeners before any handler, so that no accept call
	 * hands out a descriptor while the handlers are being stopped.
	 */
	if (IS_ENABLED(CONFIG_NET_IPV6) && conf.ipv6.tcp.sock >= 0) {
		(void)close(conf.ipv6.tcp.sock);
	}

	if (IS_ENABLED(CONFIG_NET_IPV4) && conf.ipv4.tcp.sock >= 0) {
		(void)close(conf.ipv4.tcp.sock);
	}

	if (IS_ENABLED(CONFIG_NET_IPV6)) {
		stop_thread(tcp6_thread_id);
	}

	if (IS_ENABLED(CONFIG_NET_IPV4)) {
		stop_thread(tcp4_thread_id);
	}

	/* A handler owns its socket and closes it when it leaves */
	for (i = 0; i < CONFIG_NET_SAMPLE_NUM_HANDLERS; i++) {
#if defined(CONFIG_NET_IPV6)
		if (tcp6_handler_in_use[i] == true) {
			(void)shutdown(conf.ipv6.tcp.accepted[i].sock, SHUT_RD);
			stop_thread(&tcp6_handler_thread[i]);
		}
#endif
#if defined(CONFIG_NET_IPV4)
		if (tcp4_handler_in_use[i] == true) {
			(void)shutdown(conf.ipv4.tcp.accepted[i].sock, SHUT_RD);
			stop_thread(&tcp4_handler_thread[i]);
		}
#endif
	}
}
```

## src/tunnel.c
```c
/*
 * Copyright (c) 2021 Intel Corporation.
 *
 * SPDX-License-Identifier: Apache-2.0
 */

#include <zephyr/logging/log.h>
LOG_MODULE_DECLARE(net_echo_server_sample, LOG_LEVEL_DBG);

#include <zephyr/kernel.h>

#include <zephyr/net/ethernet.h>
#include <zephyr/net/virtual_mgmt.h>
#include <zephyr/net/conn_mgr_monitor.h>

/* User data for the interface callback */
struct ud {
	struct net_if *tunnel;
	struct net_if *peer;
};

bool is_tunnel(struct net_if *iface)
{
	if (net_if_l2(iface) == &NET_L2_GET_NAME(VIRTUAL) &&
	    strncmp(net_if_get_device(iface)->name, "IP_TUNNEL0",
		    strlen(net_if_get_device(iface)->name)) == 0) {
		return true;
	}

	return false;
}

static void iface_cb(struct net_if *iface, void *user_data)
{
	struct ud *ud = user_data;

	if (!ud->tunnel && is_tunnel(iface)) {
		ud->tunnel = iface;
		return;
	}
}

static int setup_iface(struct net_if *iface, const char *ipaddr)
{
	struct net_if_addr *ifaddr;
	struct sockaddr addr;

	/* Before setting up tunnel, make sure it will be ignored by conn_mgr */
	conn_mgr_ignore_iface(iface);

	if (!net_ipaddr_parse(ipaddr, strlen(ipaddr), &addr)) {
		LOG_ERR("Tunnel peer address \"%s\" invalid.", ipaddr);
		return -EINVAL;
	}

	if (IS_ENABLED(CONFIG_NET_IPV6) && addr.sa_family == AF_INET6) {
		ifaddr = net_if_ipv6_addr_add(iface,
					      &net_sin6(&addr)->sin6_addr,
					      NET_ADDR_MANUAL, 0);
		if (!ifaddr) {
			LOG_ERR("Cannot add %s to interface %d",
				ipaddr, net_if_get_by_iface(iface));
			return -EINVAL;
		}
	}

	if (IS_ENABLED(CONFIG_NET_IPV4) && addr.sa_family == AF_INET) {
		ifaddr = net_if_ipv4_addr_add(iface,
					      &net_sin(&addr)->sin_addr,
					      NET_ADDR_MANUAL, 0);
		if (!ifaddr) {
			LOG_ERR("Cannot add %s to interface %d",
				ipaddr, net_if_get_by_iface(iface));
			return -EINVAL;
		}
	}

	return 0;
}

int init_tunnel(void)
{
	struct virtual_interface_req_params params = { 0 };
	struct sockaddr peer = { 0 };
	struct ud ud;
	int ret;
	int mtu;

	memset(&ud, 0, sizeof(ud));

	if (CONFIG_NET_SAMPLE_TUNNEL_PEER_ADDR[0] == '\0') {
		LOG_INF("Tunnel peer address not set.");
		return 0;
	}

	if (!net_ipaddr_parse(CONFIG_NET_SAMPLE_TUNNEL_PEER_ADDR,
			      strlen(CONFIG_NET_SAMPLE_TUNNEL_PEER_ADDR),
			      &peer)) {
		LOG_ERR("Tunnel peer address \"%s\" invalid.",
			CONFIG_NET_SAMPLE_TUNNEL_PEER_ADDR);
		return -EINVAL;
	}

	if (IS_ENABLED(CONFIG_NET_IPV6) && peer.sa_family == AF_INET6) {
		struct net_if *iface;

		iface = net_if_ipv6_select_src_iface(
					&net_sin6(&peer)->sin6_addr);
		ud.peer = iface;
		params.family = AF_INET6;
		net_ipaddr_copy(&params.peer6addr,
				&net_sin6(&peer)->sin6_addr);
		mtu = NET_ETH_MTU - sizeof(struct net_ipv6_hdr);

	} else if (IS_ENABLED(CONFIG_NET_IPV4) && peer.sa_family == AF_INET) {
		struct net_if *iface;

		iface = net_if_ipv4_select_src_iface(
					&net_sin(&peer)->sin_addr);
		ud.peer = iface;
		params.family = AF_INET;
		net_ipaddr_copy(&params.peer4addr,
				&net_sin(&peer)->sin_addr);
		mtu = NET_ETH_MTU - sizeof(struct net_ipv4_hdr);

	} else {
		LOG_ERR("Invalid address family %d", peer.sa_family);
		return -EINVAL;
	}

	if (ud.peer == NULL) {
		LOG_ERR("Peer address %s unreachable",
			CONFIG_NET_SAMPLE_TUNNEL_PEER_ADDR);
		return -ENETUNREACH;
	}

	net_if_foreach(iface_cb, &ud);

	if (ud.tunnel == NULL) {
		LOG_ERR("Tunnel interface not found.");
		return -ENOENT;
	}

	ret = net_mgmt(NET_REQUEST_VIRTUAL_INTERFACE_SET_PEER_ADDRESS,
		       ud.tunnel, &params, sizeof(params));
	if (ret < 0 && ret != -ENOTSUP) {
		LOG_ERR("Cannot set peer address %s to "
			"interface %d (%d)",
			CONFIG_NET_SAMPLE_TUNNEL_PEER_ADDR,
			net_if_get_by_iface(ud.tunnel),
			ret);
	}

	params.mtu = mtu;

	ret = net_mgmt(NET_REQUEST_VIRTUAL_INTERFACE_SET_MTU,
		       ud.tunnel, &params, sizeof(params));
	if (ret < 0 && ret != -ENOTSUP) {
		LOG_ERR("Cannot set interface %d MTU to %d (%d)",
			net_if_get_by_iface(ud.tunnel), params.mtu, ret);
	}

	ret = setup_iface(ud.tunnel,
			  CONFIG_NET_SAMPLE_TUNNEL_MY_ADDR);
	if (ret < 0) {
		LOG_ERR("Cannot set IP address %s to tunnel interface",
			CONFIG_NET_SAMPLE_TUNNEL_MY_ADDR);
		return -EINVAL;
	}

	return 0;
}
```

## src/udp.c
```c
/* udp.c - UDP specific code for echo server */

/*
 * Copyright (c) 2017 Intel Corporation.
 * Copyright (c) 2018 Nordic Semiconductor ASA.
 *
 * SPDX-License-Identifier: Apache-2.0
 */

#include <zephyr/logging/log.h>
LOG_MODULE_DECLARE(net_echo_server_sample, LOG_LEVEL_DBG);

#include <zephyr/kernel.h>
#include <errno.h>
#include <stdio.h>
#include <sys/socket.h>
#include <unistd.h>

#include <zephyr/net/tls_credentials.h>

#include "common.h"
#include "certificate.h"

static void process_udp4(void);
static void process_udp6(void);

K_THREAD_DEFINE(udp4_thread_id, STACK_SIZE,
		process_udp4, NULL, NULL, NULL,
		THREAD_PRIORITY,
		IS_ENABLED(CONFIG_USERSPACE) ? K_USER : 0, -1);

K_THREAD_DEFINE(udp6_thread_id, STACK_SIZE,
		process_udp6, NULL, NULL, NULL,
		THREAD_PRIORITY,
		IS_ENABLED(CONFIG_USERSPACE) ? K_USER : 0, -1);

static int start_udp_proto(struct data *data, struct sockaddr *bind_addr,
			   socklen_t bind_addrlen)
{
	int optval;
	int ret;

#if defined(CONFIG_NET_SOCKETS_SOCKOPT_TLS)
	data->udp.sock = socket(bind_addr->sa_family, SOCK_DGRAM,
				IPPROTO_DTLS_1_2);
#else
	data->udp.sock = socket(bind_addr->sa_family, SOCK_DGRAM, IPPROTO_UDP);
#endif
	if (data->udp.sock < 0) {
		LOG_ERR("Failed to create UDP socket (%s): %d", data->proto,
			errno);
		return -errno;
	}

#if defined(CONFIG_NET_SOCKETS_SOCKOPT_TLS)
	sec_tag_t sec_tag_list[] = {
		SERVER_CERTIFICATE_TAG,
#if defined(CONFIG_MBEDTLS_KEY_EXCHANGE_PSK_ENABLED)
		PSK_TAG,
#endif
	};
	int role = TLS_DTLS_ROLE_SERVER;

	ret = setsockopt(data->udp.sock, SOL_TLS, TLS_SEC_TAG_LIST,
			 sec_tag_list, sizeof(sec_tag_list));
	if (ret < 0) {
		LOG_ERR("Failed to set UDP secure option (%s): %d", data->proto,
			errno);
		ret = -errno;
	}

	/* Set role to DTLS server. */
	ret = setsockopt(data->udp.sock, SOL_TLS, TLS_DTLS_ROLE,
			 &role, sizeof(role));
	if (ret < 0) {
		LOG_ERR("Failed to set DTLS role secure option (%s): %d",
			data->proto, errno);
		ret = -errno;
	}
#endif

	if (bind_addr->sa_family == AF_INET6) {
		/* Prefer IPv6 temporary addresses */
		optval = IPV6_PREFER_SRC_PUBLIC;
		(void)setsockopt(data->udp.sock, IPPROTO_IPV6,
				 IPV6_ADDR_PREFERENCES,
				 &optval, sizeof(optval));

		/*
		 * Bind only to IPv6 without mapping to IPv4, since we bind to
		 * IPv4 using another socket
		 */
		optval = 1;
		(void)setsockopt(data->udp.sock, IPPROTO_IPV6, IPV6_V6ONLY,
				 &optval, sizeof(optval));
	}

	ret = bind(data->udp.sock, bind_addr, bind_addrlen);
	if (ret < 0) {
		LOG_ERR("Failed to bind UDP socket (%s): %d", data->proto,
			errno);
		ret = -errno;
	}

	return ret;
}

static int process_udp(struct data *data)
{
	int ret = 0;
	int received;
	struct sockaddr client_addr;
	socklen_t client_addr_len;

	LOG_INF("Waiting for UDP packets on port %d (%s)...",
		 MY_PORT, data->proto);

	do {
		client_addr_len = sizeof(client_addr);
		received = recvfrom(data->udp.sock, data->udp.recv_buffer,
				    sizeof(data->udp.recv_buffer), 0,
				    &client_addr, &client_addr_len);

		if (received < 0) {
			/* Socket error */
			LOG_ERR("UDP (%s): Connection error %d", data->proto,
				errno);
			ret = -errno;
			break;
		} else if (received) {
			atomic_add(&data->udp.bytes_received, received);
		}

		ret = sendto(data->udp.sock, data->udp.recv_buffer, received, 0,
			     &client_addr, client_addr_len);
		if (ret < 0) {
			LOG_ERR("UDP (%s): Failed to send %d", data->proto,
				errno);
			ret = -errno;
			break;
		}

		if (++data->udp.counter % 1000 == 0U) {
			LOG_INF("%s UDP: Sent %u packets", data->proto,
				 data->udp.counter);
		}

		LOG_DBG("UDP (%s): Received and replied with %d bytes",
			data->proto, received);
	} while (true);

	return ret;
}

static void process_udp4(void)
{
	int ret;
	struct sockaddr_in addr4;

	(void)memset(&addr4, 0, sizeof(addr4));
	addr4.sin_family = AF_INET;
	addr4.sin_port = htons(MY_PORT);

	ret = start_udp_proto(&conf.ipv4, (struct sockaddr *)&addr4,
			      sizeof(addr4));
	if (ret < 0) {
		quit();
		return;
	}

	while (ret == 0) {
		ret = process_udp(&conf.ipv4);
		if (ret < 0) {
			quit();
		}
	}
}

static void process_udp6(void)
{
	int ret;
	struct sockaddr_in6 addr6;

	(void)memset(&addr6, 0, sizeof(addr6));
	addr6.sin6_family = AF_INET6;
	addr6.sin6_port = htons(MY_PORT);

	ret = start_udp_proto(&conf.ipv6, (struct sockaddr *)&addr6,
			      sizeof(addr6));
	if (ret < 0) {
		quit();
		return;
	}

	while (ret == 0) {
		ret = process_udp(&conf.ipv6);
		if (ret < 0) {
			quit();
		}
	}
}

static void print_stats(struct k_work *work)
{
	struct k_work_delayable *dwork = k_work_delayable_from_work(work);
	struct data *data = CONTAINER_OF(dwork, struct data, udp.stats_print);
	int total_received = atomic_get(&data->udp.bytes_received);

	if (total_received) {
		if ((total_received / STATS_TIMER) < 1024) {
			LOG_INF("%s UDP: Received %d B/sec", data->proto,
				total_received / STATS_TIMER);
		} else {
			LOG_INF("%s UDP: Received %d KiB/sec", data->proto,
				total_received / 1024 / STATS_TIMER);
		}

		atomic_set(&data->udp.bytes_received, 0);
	}

	k_work_reschedule(&data->udp.stats_print, K_SECONDS(STATS_TIMER));
}

void start_udp(void)
{
	if (IS_ENABLED(CONFIG_NET_IPV6)) {
#if defined(CONFIG_USERSPACE)
		k_mem_domain_add_thread(&app_domain, udp6_thread_id);
#endif

		k_work_init_delayable(&conf.ipv6.udp.stats_print, print_stats);
		k_thread_name_set(udp6_thread_id, "udp6");
		k_thread_start(udp6_thread_id);
		k_work_reschedule(&conf.ipv6.udp.stats_print,
				  K_SECONDS(STATS_TIMER));
	}

	if (IS_ENABLED(CONFIG_NET_IPV4)) {
#if defined(CONFIG_USERSPACE)
		k_mem_domain_add_thread(&app_domain, udp4_thread_id);
#endif

		k_work_init_delayable(&conf.ipv4.udp.stats_print, print_stats);
		k_thread_name_set(udp4_thread_id, "udp4");
		k_thread_start(udp4_thread_id);
		k_work_reschedule(&conf.ipv4.udp.stats_print,
				  K_SECONDS(STATS_TIMER));
	}
}

void stop_udp(void)
{
	/* Not very graceful way to close a thread, but as we may be blocked
	 * in recvfrom call it seems to be necessary
	 */
	if (IS_ENABLED(CONFIG_NET_IPV6)) {
		k_thread_abort(udp6_thread_id);
		if (conf.ipv6.udp.sock >= 0) {
			(void)close(conf.ipv6.udp.sock);
		}
	}

	if (IS_ENABLED(CONFIG_NET_IPV4)) {
		k_thread_abort(udp4_thread_id);
		if (conf.ipv4.udp.sock >= 0) {
			(void)close(conf.ipv4.udp.sock);
		}
	}
}
```

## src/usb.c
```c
/*
 * Copyright (c) 2021 TiaC Systems
 *
 * SPDX-License-Identifier: Apache-2.0
 */

#include <zephyr/logging/log.h>
LOG_MODULE_DECLARE(net_echo_server_sample, LOG_LEVEL_DBG);

#include <sample_usbd.h>
#include <zephyr/net/net_config.h>

static struct usbd_context *sample_usbd;

int init_usb(void)
{
	int err;

	sample_usbd = sample_usbd_init_device(NULL);
	if (sample_usbd == NULL) {
		return -ENODEV;
	}

	err = usbd_enable(sample_usbd);
	if (err) {
		return err;
	}

	(void)net_config_init_app(DEVICE_DT_GET(DT_NODELABEL(cdc_ncm_eth0)),
				  "Initializing network");

	return 0;
}
```

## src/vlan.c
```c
/*
 * Copyright (c) 2018 Intel Corporation.
 *
 * SPDX-License-Identifier: Apache-2.0
 */

#include <zephyr/logging/log.h>
LOG_MODULE_DECLARE(net_echo_server_sample, LOG_LEVEL_DBG);

#include <zephyr/kernel.h>

#include <zephyr/net/ethernet.h>

/* User data for the interface callback */
struct ud {
	struct net_if *first;
	struct net_if *second;
	struct net_if *eth;
};

static void iface_cb(struct net_if *iface, void *user_data)
{
	struct ud *ud = user_data;

	if (net_if_l2(iface) == &NET_L2_GET_NAME(ETHERNET) && ud->eth == NULL) {
		ud->eth = iface;
		return;
	}

	if (net_if_l2(iface) != &NET_L2_GET_NAME(VIRTUAL)) {
		return;
	}

	if (!ud->first) {
		ud->first = iface;
		return;
	}

	if (!ud->second) {
		ud->second = iface;
		return;
	}
}

static int setup_iface(struct net_if *iface, struct net_if *vlan,
		       const char *ipv6_addr, const char *ipv4_addr,
		       const char *netmask, uint16_t vlan_tag)
{
	struct net_if_addr *ifaddr;
	struct in_addr addr4;
	struct in6_addr addr6;
	int ret;

	ret = net_eth_vlan_enable(iface, vlan_tag);
	if (ret < 0) {
		LOG_ERR("Cannot enable VLAN for tag %d (%d)", vlan_tag, ret);
	}

	if (IS_ENABLED(CONFIG_NET_IPV6)) {
		if (net_addr_pton(AF_INET6, ipv6_addr, &addr6)) {
			LOG_ERR("Invalid address: %s", ipv6_addr);
			return -EINVAL;
		}

		ifaddr = net_if_ipv6_addr_add(vlan, &addr6,
					      NET_ADDR_MANUAL, 0);
		if (!ifaddr) {
			LOG_ERR("Cannot add %s to interface %p",
				ipv6_addr, vlan);
			return -EINVAL;
		}
	}

	if (IS_ENABLED(CONFIG_NET_IPV4)) {
		if (net_addr_pton(AF_INET, ipv4_addr, &addr4)) {
			LOG_ERR("Invalid address: %s", ipv4_addr);
			return -EINVAL;
		}

		ifaddr = net_if_ipv4_addr_add(vlan, &addr4,
					      NET_ADDR_MANUAL, 0);
		if (!ifaddr) {
			LOG_ERR("Cannot add %s to interface %p",
				ipv4_addr, vlan);
			return -EINVAL;
		}

		if (netmask && netmask[0]) {
			struct in_addr nm;

			if (net_addr_pton(AF_INET, netmask, &nm)) {
				LOG_ERR("Invalid netmask: %s", ipv4_addr);
				return -EINVAL;
			}

			net_if_ipv4_set_netmask_by_addr(vlan, &addr4, &nm);
		}
	}

	LOG_DBG("Interface %p VLAN tag %d setup done.", vlan, vlan_tag);

	return 0;
}

int init_vlan(void)
{
	struct ud ud;
	int ret;

	if (CONFIG_NET_VLAN_COUNT == 0) {
		LOG_DBG("No VLAN interfaces defined.");
		return 0;
	}

	memset(&ud, 0, sizeof(ud));

	net_if_foreach(iface_cb, &ud);

	/* This sample has two VLANs. For the second one we need to manually
	 * create IP address for this test. But first the VLAN needs to be
	 * added to the interface so that IPv6 DAD can work properly.
	 */
	ret = setup_iface(ud.eth, ud.first,
			  CONFIG_NET_SAMPLE_IFACE2_MY_IPV6_ADDR,
			  CONFIG_NET_SAMPLE_IFACE2_MY_IPV4_ADDR,
			  CONFIG_NET_SAMPLE_IFACE2_MY_IPV4_NETMASK,
			  CONFIG_NET_SAMPLE_IFACE2_VLAN_TAG);
	if (ret < 0) {
		return ret;
	}

	ret = setup_iface(ud.eth, ud.second,
			  CONFIG_NET_SAMPLE_IFACE3_MY_IPV6_ADDR,
			  CONFIG_NET_SAMPLE_IFACE3_MY_IPV4_ADDR,
			  CONFIG_NET_SAMPLE_IFACE3_MY_IPV4_NETMASK,
			  CONFIG_NET_SAMPLE_IFACE3_VLAN_TAG);
	if (ret < 0) {
		return ret;
	}

	return 0;
}
```
